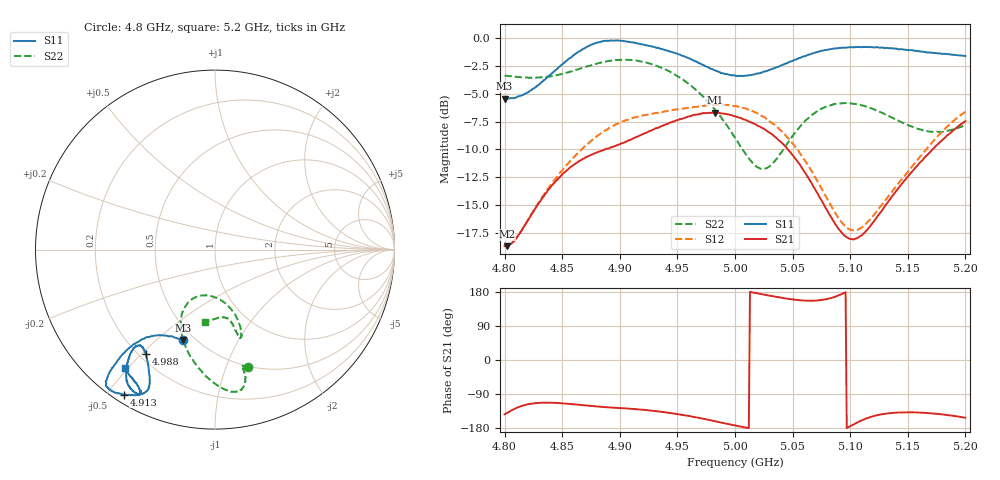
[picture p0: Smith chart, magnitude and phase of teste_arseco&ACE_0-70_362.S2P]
! Network Analyzer HP8722D
! Hewlett-Packard
! Data name: Linha & Wilkinson
! Saver's name: Rodrigo Anjos
! Comments: Teste da utilização de aquisição
! continua pelo VNA HP8722D
! Time and date: 8/5/2025 15:46
!  Frequency  S11  S21  S12  S22
# HZ  S  MA R 50
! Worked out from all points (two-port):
!   401 points, 4.8 GHz to 5.2 GHz, reference 50 ohm
!   highest |S21| = -6.69 dB at 4.983 GHz (marker M1); lowest = -18.7 dB at 4.802 GHz (marker M2)
!   |S21| within 3 dB of the highest: 4.896 GHz to 5.043 GHz (147.6 MHz wide, 2.97 % of centre); 5.174258 GHz to end of sweep
!   lowest |S11| = -5.4 dB at 4.8 GHz (marker M3), VSWR 3.29, Z = 21.7 - j30.6 ohm
!   |S11| at or under -10 dB: nowhere
!   |S22| runs from -11.7 to -1.9 dB; largest |S21 - S12| = 0.61
!   S11 on the Smith chart (normalised r, x): 4.8 GHz: 0.43, -0.61; 4.913 GHz: 0.03, -0.55; 4.988 GHz: 0.23, -0.51; 5.2 GHz: 0.11, -0.49
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4.8e9  0.5343 -109.6  0.1164 -143.4  0.1165 -87.8  0.6787 -74.5
4.802e9  0.5366 -111.3  0.1163 -139.8  0.1167 -84.0  0.6782 -74.8
4.811e9  0.5448 -117.5  0.1281 -125.8  0.1282 -69.1  0.67 -75.8
4.831e9  0.6262 -128.3  0.1852 -112.9  0.1879 -53.9  0.6671 -77.0
4.867e9  0.8874 -130.8  0.2848 -118.9  0.3169 -53.1  0.7347 -76.6
4.887e9  0.9726 -128.5  0.3167 -124.3  0.3842 -57.7  0.7833 -78.4
4.913e9  0.9535 -122.1  0.3574 -129.5  0.4411 -65.6  0.7947 -83.7
4.934e9  0.9026 -116.8  0.3978 -136.1  0.4649 -72.1  0.7432 -90.4
4.953e9  0.8386 -115.9  0.4333 -144.1  0.4812 -78.2  0.6615 -98.3
4.983e9  0.7159 -122.0  0.4628 -161.7  0.5011 -91.2  0.4753 -113.5
4.988e9  0.6955 -123.5  0.4591 -165.1  0.5023 -93.5  0.4413 -115.6
5e9  0.6795 -126.4  0.4457 -172.8  0.4965 -100.2  0.3569 -117.5
5.015e9  0.6857 -128.8  0.4161 178.5  0.4705 -109.0  0.2761 -109.7
5.026e9  0.7089 -129.5  0.3882 172.1  0.4406 -114.9  0.2593 -95.4
5.046e9  0.7764 -128.4  0.3157 161.4  0.3556 -124.5  0.3395 -75.2
5.067e9  0.8537 -125.4  0.2208 156.6  0.2508 -128.0  0.4525 -71.9
5.089e9  0.8989 -122.0  0.1412 169.2  0.1579 -114.5  0.5088 -73.3
5.101e9  0.911 -120.1  0.1251 -173.0  0.1375 -96.4  0.5091 -74.2
5.112e9  0.9123 -118.6  0.1332 -156.7  0.1444 -79.2  0.4965 -74.9
5.134e9  0.9018 -117.4  0.1875 -140.5  0.1972 -60.2  0.4454 -76.1
5.169e9  0.8631 -121.0  0.3063 -140.4  0.3302 -55.1  0.3808 -82.4
5.2e9  0.831 -127.2  0.4238 -152.4  0.4672 -65.3  0.4061 -98.0
